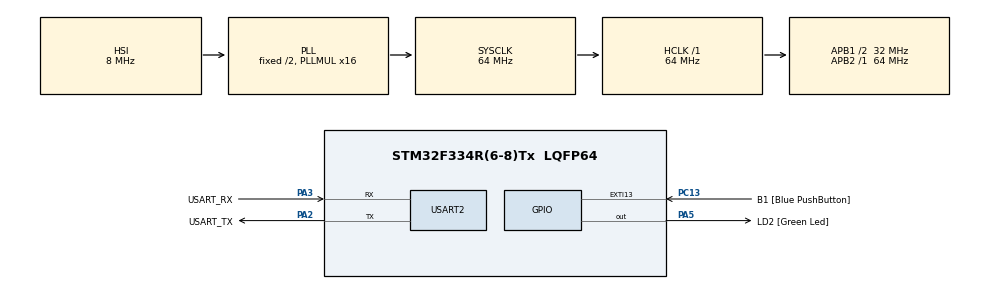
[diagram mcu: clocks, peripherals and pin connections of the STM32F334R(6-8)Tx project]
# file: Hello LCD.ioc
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Mcu.Family=STM32F3
Mcu.Name=STM32F334R(6-8)Tx
Mcu.Package=LQFP64
NVIC.PriorityGroup=NVIC_PRIORITYGROUP_0
PA13.GPIO_Label=TMS
PA13.Mode=Serial_Wire
PA13.Signal=SYS_JTMS-SWDIO
PA14.GPIO_Label=TCK
PA14.Mode=Serial_Wire
PA14.Signal=SYS_JTCK-SWCLK
PA2.GPIO_Label=USART_TX
PA2.Mode=Asynchronous
PA2.Signal=USART2_TX
PA3.GPIO_Label=USART_RX
PA3.Mode=Asynchronous
PA3.Signal=USART2_RX
PA5.GPIO_Label=LD2 [Green Led]
PA5.Signal=GPIO_Output
PB3.GPIO_Label=SWO
PB3.Signal=SYS_JTDO-TRACESWO
PC13.GPIO_Label=B1 [Blue PushButton]
PC13.GPIO_ModeDefaultEXTI=GPIO_MODE_IT_FALLING
PC13.Signal=GPXTI13
PC14\ /\ OSC32_IN.Mode=LSE-External-Oscillator
PC14\ /\ OSC32_IN.Signal=RCC_OSC32_IN
PC15\ /\ OSC32_OUT.GPIO_Label=RCC_OSC32_OUT
PC15\ /\ OSC32_OUT.Mode=LSE-External-Oscillator
PC15\ /\ OSC32_OUT.Signal=RCC_OSC32_OUT
PF0\ /\ OSC_IN.Mode=HSE-External-Clock-Source
PF0\ /\ OSC_IN.Signal=RCC_OSC_IN
PF1\ /\ OSC_OUT.Signal=RCC_OSC_OUT
ProjectManager.HeapSize=0x200
ProjectManager.StackSize=0x400
ProjectManager.TargetToolchain=STM32CubeIDE
RCC.AHBFreq_Value=64000000
RCC.APB1CLKDivider=RCC_HCLK_DIV2
RCC.APB1Freq_Value=32000000
RCC.APB1TimFreq_Value=64000000
RCC.APB2Freq_Value=64000000
RCC.APB2TimFreq_Value=64000000
RCC.CortexFreq_Value=64000000
RCC.FLatency-AdvancedSettings=FLASH_LATENCY_2
RCC.HCLKFreq_Value=64000000
RCC.HSE_VALUE=8000000
RCC.HSI_VALUE=8000000
RCC.PLLMUL=RCC_PLL_MUL16
RCC.SYSCLKFreq_VALUE=64000000
RCC.SYSCLKSourceVirtual=RCC_SYSCLKSOURCE_PLLCLK
USART2.VirtualMode-Asynchronous=VM_ASYNC
board=NUCLEO-F334R8

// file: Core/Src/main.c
/* USER CODE BEGIN Header */
/**
 ******************************************************************************
 * @file           : main.c
 * @brief          : Main program body
 ******************************************************************************
 * @attention
 *
 * <h2><center>&copy; Copyright (c) 2021 STMicroelectronics.
 * All rights reserved.</center></h2>
 *
 * This software component is licensed by ST under BSD 3-Clause license,
 * the "License"; You may not use this file except in compliance with the
 * License. You may obtain a copy of the License at:
 *                        opensource.org/licenses/BSD-3-Clause
 *
 ******************************************************************************
 */
/* USER CODE END Header */
#include "main.h"

/* USER CODE BEGIN Includes */
#include "hal_lcd.h"
/* USER CODE END Includes */

UART_HandleTypeDef huart2;

/* USER CODE BEGIN PV */
LCD_Config_t myLcd;
/* USER CODE END PV */

void SystemClock_Config(void);
static void MX_GPIO_Init(void);
static void MX_USART2_UART_Init(void);

int main(void) {

	/* MCU Configuration--------------------------------------------------------*/

	/* Reset of all peripherals, Initializes the Flash interface and the Systick. */
	HAL_Init();

	/* Configure the system clock */
	SystemClock_Config();

	/* Initialize all configured peripherals */
	MX_GPIO_Init();
	MX_USART2_UART_Init();
	/* USER CODE BEGIN 2 */
	myLcd.ColumnNumber = 16;
	myLcd.RowNumber = 2;
	myLcd.DisplayFunction = FUNCTION_4BIT;
	myLcd.D4_Port = GPIOB;
	myLcd.D4_Pin = GPIO_PIN_5; //PB5
	myLcd.D5_Port = GPIOB;
	myLcd.D5_Pin = GPIO_PIN_4; //PB4
	myLcd.D6_Port = GPIOB;
	myLcd.D6_Pin = GPIO_PIN_10; //PB10
	myLcd.D7_Port = GPIOA;
	myLcd.D7_Pin = GPIO_PIN_8; //PA8
	myLcd.RS_Port = GPIOA;
	myLcd.RS_Pin = GPIO_PIN_9; //PA9
	myLcd.EN_Port = GPIOC;
	myLcd.EN_Pin = GPIO_PIN_7; //PC7

	HAL_LCD_Init(&myLcd);
	HAL_LCD_Print("HELLO WORLD!");
	HAL_LCD_SetCursor(0, 1); //second row
	HAL_LCD_Print("FROM VT LABS");
	/* USER CODE END 2 */

	/* Infinite loop */
	while (1) {

		/* USER CODE BEGIN 3 */
		HAL_GPIO_TogglePin(LD2_GPIO_Port, LD2_Pin);
		HAL_Delay(1000);
	}
	/* USER CODE END 3 */
}

void SystemClock_Config(void) {
	RCC_OscInitTypeDef RCC_OscInitStruct = { 0 };
	RCC_ClkInitTypeDef RCC_ClkInitStruct = { 0 };

	/** Initializes the RCC Oscillators according to the specified parameters
	 * in the RCC_OscInitTypeDef structure.
	 */
	RCC_OscInitStruct.OscillatorType = RCC_OSCILLATORTYPE_HSI;
	RCC_OscInitStruct.HSIState = RCC_HSI_ON;
	RCC_OscInitStruct.HSICalibrationValue = RCC_HSICALIBRATION_DEFAULT;
	RCC_OscInitStruct.PLL.PLLState = RCC_PLL_ON;
	RCC_OscInitStruct.PLL.PLLSource = RCC_PLLSOURCE_HSI;
	RCC_OscInitStruct.PLL.PLLMUL = RCC_PLL_MUL16;
	if (HAL_RCC_OscConfig(&RCC_OscInitStruct) != HAL_OK) {
		Error_Handler();
	}
	/** Initializes the CPU, AHB and APB buses clocks
	 */
	RCC_ClkInitStruct.ClockType = RCC_CLOCKTYPE_HCLK | RCC_CLOCKTYPE_SYSCLK
			| RCC_CLOCKTYPE_PCLK1 | RCC_CLOCKTYPE_PCLK2;
	RCC_ClkInitStruct.SYSCLKSource = RCC_SYSCLKSOURCE_PLLCLK;
	RCC_ClkInitStruct.AHBCLKDivider = RCC_SYSCLK_DIV1;
	RCC_ClkInitStruct.APB1CLKDivider = RCC_HCLK_DIV2;
	RCC_ClkInitStruct.APB2CLKDivider = RCC_HCLK_DIV1;

	if (HAL_RCC_ClockConfig(&RCC_ClkInitStruct, FLASH_LATENCY_2) != HAL_OK) {
		Error_Handler();
	}
}

static void MX_USART2_UART_Init(void) {

	huart2.Instance = USART2;
	huart2.Init.BaudRate = 38400;
	huart2.Init.WordLength = UART_WORDLENGTH_8B;
	huart2.Init.StopBits = UART_STOPBITS_1;
	huart2.Init.Parity = UART_PARITY_NONE;
	huart2.Init.Mode = UART_MODE_TX_RX;
	huart2.Init.HwFlowCtl = UART_HWCONTROL_NONE;
	huart2.Init.OverSampling = UART_OVERSAMPLING_16;
	huart2.Init.OneBitSampling = UART_ONE_BIT_SAMPLE_DISABLE;
	huart2.AdvancedInit.AdvFeatureInit = UART_ADVFEATURE_NO_INIT;
	if (HAL_UART_Init(&huart2) != HAL_OK) {
		Error_Handler();
	}

}

static void MX_GPIO_Init(void) {
	GPIO_InitTypeDef GPIO_InitStruct = { 0 };

	/* GPIO Ports Clock Enable */
	__HAL_RCC_GPIOC_CLK_ENABLE();
	__HAL_RCC_GPIOF_CLK_ENABLE();
	__HAL_RCC_GPIOA_CLK_ENABLE();
	__HAL_RCC_GPIOB_CLK_ENABLE();

	/*Configure GPIO pin Output Level */
	HAL_GPIO_WritePin(LD2_GPIO_Port, LD2_Pin, GPIO_PIN_RESET);

	/*Configure GPIO pin : B1_Pin */
	GPIO_InitStruct.Pin = B1_Pin;
	GPIO_InitStruct.Mode = GPIO_MODE_IT_FALLING;
	GPIO_InitStruct.Pull = GPIO_NOPULL;
	HAL_GPIO_Init(B1_GPIO_Port, &GPIO_InitStruct);

	/*Configure GPIO pin : LD2_Pin */
	GPIO_InitStruct.Pin = LD2_Pin;
	GPIO_InitStruct.Mode = GPIO_MODE_OUTPUT_PP;
	GPIO_InitStruct.Pull = GPIO_NOPULL;
	GPIO_InitStruct.Speed = GPIO_SPEED_FREQ_LOW;
	HAL_GPIO_Init(LD2_GPIO_Port, &GPIO_InitStruct);

}

void Error_Handler(void) {
}

/************************ (C) COPYRIGHT STMicroelectronics *****END OF FILE****/
